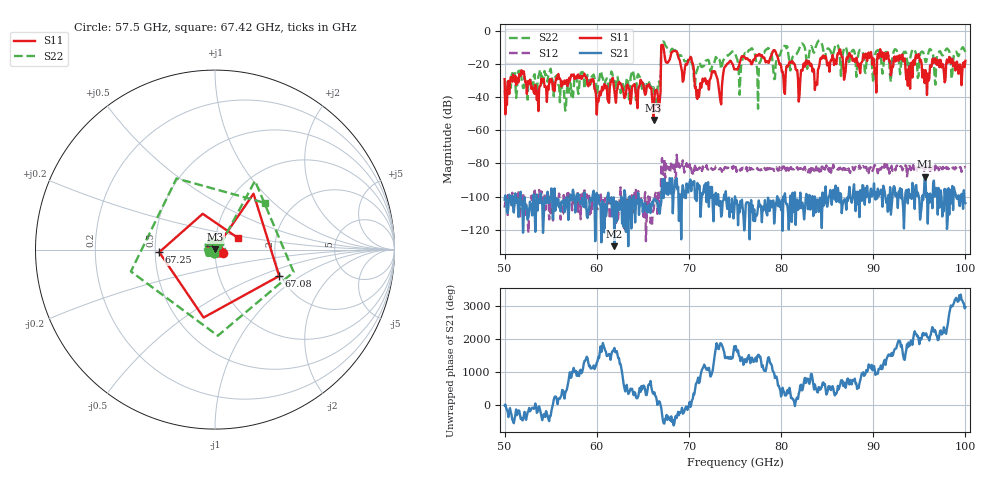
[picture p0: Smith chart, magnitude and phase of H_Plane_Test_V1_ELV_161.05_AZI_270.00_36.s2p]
! 11/27/2026 8:25:26 AM
! C:\ANRITSUVNA\TEMP\TEMP.S2P
! CHANNEL.1
! TR.MEASUREMENT
! RAW.DATA
# HZ S RI R 50.0
! FREQ.HZ  S11RE  S11IM  S21RE  S21IM  S12RE  S12IM  S22RE  S22IM
!; PortSelection: Port_12
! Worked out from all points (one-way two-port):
!   601 points, 50 GHz to 100 GHz, reference 50 ohm
!   highest |S21| = -87.99 dB at 95.58 GHz (marker M1); lowest = -130.0 dB at 61.92 GHz (marker M2)
!   lowest |S11| = -53.7 dB at 66.17 GHz (marker M3), VSWR 1.00, Z = 50.1 + j0.157 ohm
!   |S11| at or under -10 dB: start of sweep to 67 GHz; 67.24 GHz to end of sweep
!   |S22| runs from -48.0 to -5.6 dB; largest |S21 - S12| = 0.00017
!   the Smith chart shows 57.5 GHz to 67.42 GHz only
!   S11 on the Smith chart (normalised r, x): 57.5 GHz: 1.09, -0.05; 67.08 GHz: 1.96, -0.68; 67.25 GHz: 0.53, -0.02; 67.42 GHz: 1.29, +0.17
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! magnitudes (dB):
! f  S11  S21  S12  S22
! 50 GHz  -29.0  -101.9  -106.7  -35.6
! 57.5 GHz  -26.1  -99.4  -100.6  -34.4
! 58.42 GHz  -27.1  -100.9  -102.0  -24.7
! 61.92 GHz  -35.9  -130.0  -108.7  -31.0
! 66.17 GHz  -53.7  -101.8  -108.1  -34.0
! 66.67 GHz  -41.8  -108.3  -97.7  -31.5
! 67.08 GHz  -8.3  -89.9  -76.7  -6.8
! 67.25 GHz  -10.1  -100.9  -86.8  -6.3
! 67.42 GHz  -16.8  -91.4  -88.9  -8.4
! 70.25 GHz  -16.0  -96.7  -83.0  -18.8
! 70.92 GHz  -41.0  -91.8  -83.8  -23.1
! 75 GHz  -23.1  -99.9  -84.0  -13.0
! 77.58 GHz  -13.8  -102.4  -83.7  -21.9
! 78.5 GHz  -18.2  -111.4  -82.7  -10.8
! 79.33 GHz  -11.7  -110.1  -83.6  -28.8
! 80.25 GHz  -27.8  -100.0  -81.7  -9.3
! 83.42 GHz  -24.5  -99.7  -81.4  -10.9
! 91.67 GHz  -16.6  -98.9  -81.3  -15.3
! 93.75 GHz  -33.0  -104.2  -84.3  -21.7
! 94.83 GHz  -14.9  -97.5  -82.2  -28.3
! 95.58 GHz  -31.4  -88.0  -82.0  -16.5
! 100 GHz  -17.9  -104.0  -82.6  -12.6
